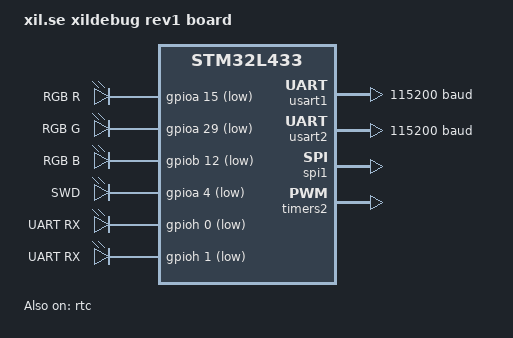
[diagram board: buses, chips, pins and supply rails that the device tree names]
/*
 * Copyright (c) 2018 arturo182
 *
 * SPDX-License-Identifier: Apache-2.0
 */

/dts-v1/;
#include <st/l4/stm32l433Xc.dtsi>

/ {
	model = "xil.se xildebug rev1 board";
	compatible = "st,xildebug-rev1", "st,stm32l433";

	chosen {
		zephyr,console = &usart2;
		zephyr,sram = &sram0;
		zephyr,flash = &flash0;
	};

	leds {
		compatible = "gpio-leds";
		rgb_r: led@0 {
			gpios = <&gpioa 15 GPIO_INT_ACTIVE_LOW>;
			label = "RGB R";
		};
		rgb_g: led@1 {
			gpios = <&gpioa 29 GPIO_INT_ACTIVE_LOW>;
			label = "RGB G";
		};
		rgb_b: led@2 {
			gpios = <&gpiob 12 GPIO_INT_ACTIVE_LOW>;
			label = "RGB B";
		};
		swd_led: led@3 {
			gpios = <&gpioa 4 GPIO_INT_ACTIVE_LOW>;
			label = "SWD";
		};
		uart_tx_led: led@4 {
			gpios = <&gpioh 0 GPIO_INT_ACTIVE_LOW>;
			label = "UART RX";
		};
		uart_rx_led: led@5 {
			gpios = <&gpioh 1 GPIO_INT_ACTIVE_LOW>;
			label = "UART RX";
		};
	};

	aliases {
		led0 = &rgb_r;
		led1 = &rgb_g;
		led2 = &rgb_b;
		led3 = &swd_led;
		led4 = &uart_tx_led;
		led5 = &uart_rx_led;
	};
};

&usart1 {
	current-speed = <115200>;
	pinctrl-0 = <&usart1_pins_b>;
	pinctrl-names = "default";
};

&usart2 {
	current-speed = <115200>;
	pinctrl-0 = <&usart2_pins_a>;
	pinctrl-names = "default";
	status = "ok";
};

&spi1 {
	status = "ok";
};

&timers2 {
	status = "ok";

	pwm {
		status = "ok";
	};
};

&rtc {
	status = "ok";
};

&flash0 {
	partitions {
		compatible = "fixed-partitions";
		#address-cells = <1>;
		#size-cells = <1>;

#if defined(CONFIG_FS_FLASH_STORAGE_PARTITION)
		/*
		 * Reserve the final 16 KiB for the application.
		 */
		storage_partition: partition@3c000 {
			label = "storage";
			reg = <0x0003c000 0x00004000>;
		};
#endif
	};
};
